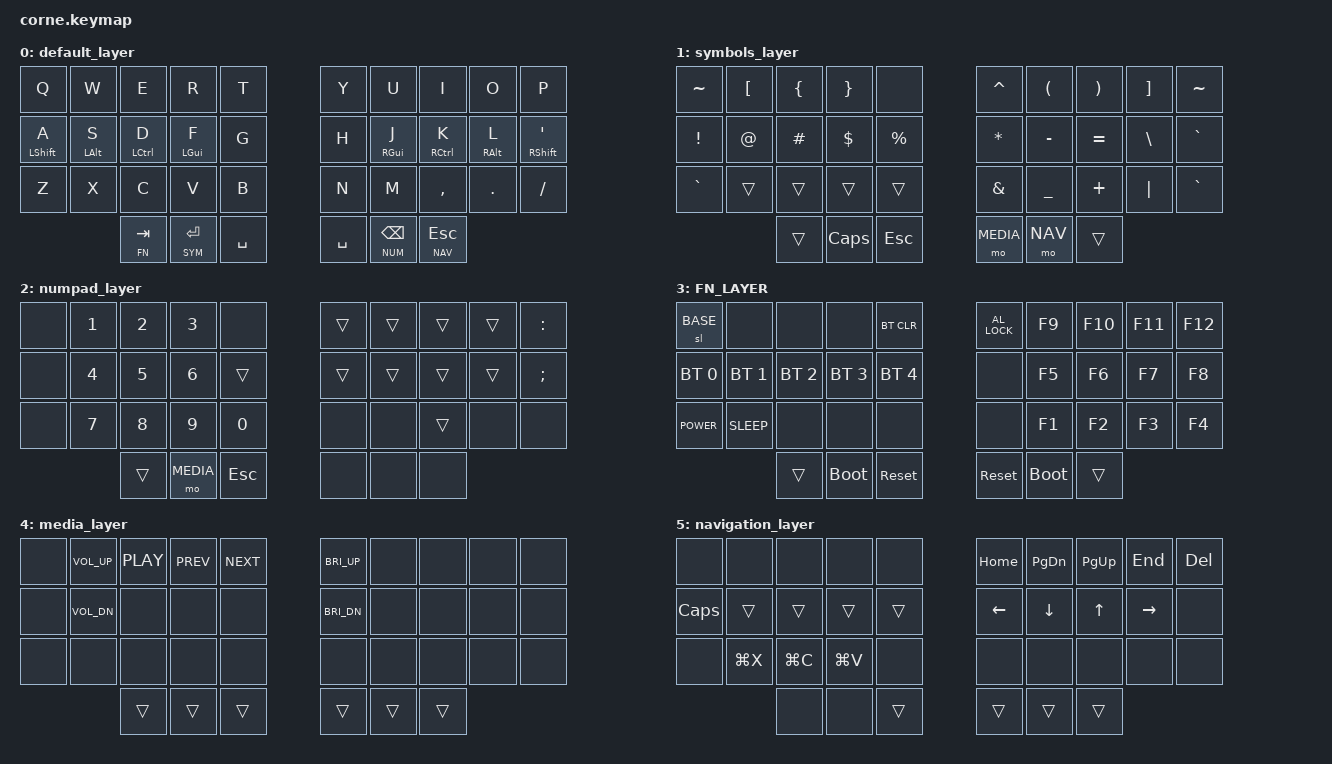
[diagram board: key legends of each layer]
// Copyright (c) 2022 The ZMK Contributors
// SPDX-License-Identifier: MIT

#include <behaviors.dtsi>
#include <dt-bindings/zmk/keys.h>
#include <dt-bindings/zmk/bt.h>

#define QUICK_TAP_MS 150
#define TAPPING_TERM_MS 200
#define PRIOR_IDLE_MS 150

#define _SPC_    &kp SPACE
#define _CUT_    &kp LG(X)
#define _COPY_   &kp LG(C)
#define _PASTE_  &kp LG(V)
#define ___      &trans
#define _x_      &none

#define BASE 0
#define SYM 1
#define NUM 2
#define FN 3
#define MEDIA 4
#define NAV 5

// Key position groups for home row mods (5-column layout = 36 keys)
#define LEFT_KEYS 0 1 2 3 4 5 6 7 8 9 10 11 12 13 14
#define RIGHT_KEYS 15 16 17 18 19 20 21 22 23 24 25 26 27 28 29
#define THUMB_KEYS 30 31 32 33 34 35

/ {
    chosen {
        zmk,matrix_transform = &five_column_transform;
    };
  };

/ {
    behaviors {
        hml: hml {
          compatible = "zmk,behavior-hold-tap";
          #binding-cells = <2>;
          flavor = "balanced";
          tapping-term-ms = <TAPPING_TERM_MS>;
          quick-tap-ms = <QUICK_TAP_MS>;
          require-prior-idle-ms = <PRIOR_IDLE_MS>;
          bindings = <&kp>, <&kp>;
          hold-trigger-key-positions = <LEFT_KEYS THUMB_KEYS>;
          hold-trigger-on-release;
        };

        hmr: hmr {
          compatible = "zmk,behavior-hold-tap";
          #binding-cells = <2>;
          flavor = "balanced";
          tapping-term-ms = <TAPPING_TERM_MS>;
          quick-tap-ms = <QUICK_TAP_MS>;
          require-prior-idle-ms = <PRIOR_IDLE_MS>;
          bindings = <&kp>, <&kp>;
          hold-trigger-key-positions = <RIGHT_KEYS THUMB_KEYS>;
          hold-trigger-on-release;
        };
    };

    keymap {
        compatible = "zmk,keymap";
        default_layer {
            bindings = <
        //╭──────────┬──────────┬──────────┬──────────┬──────────╮   ╭──────────┬──────────┬──────────┬──────────┬──────────╮
        //│  Q       │  W       │  E       │  R       │  T       │   │  Y       │  U       │  I       │  O       │  P       │
            &kp Q    &kp W      &kp E      &kp R      &kp T          &kp Y      &kp U      &kp I      &kp O      &kp P
        //├──────────┼──────────┼──────────┼──────────┼──────────┤   ├──────────┼──────────┼──────────┼──────────┼──────────┤
        //│  A       │  S       │  D       │  F       │  G       │   │  H       │  J       │  K       │  L       │ ' "      │
     &hml LSHFT A &hml LALT S &hml LCTRL D  &hml LGUI F  &kp G      &kp H  &hmr RGUI J &hmr RCTRL K &hmr RALT L  &hmr RSHFT SQT
        //├──────────┼──────────┼──────────┼──────────┼──────────┤   ├──────────┼──────────┼──────────┼──────────┼──────────┤
        //│  Z       │  X       │  C       │  V       │  B       │   │  N       │  M       │ , <      │ . >      │ / ?      │
            &kp Z      &kp X      &kp C      &kp V      &kp B          &kp N      &kp M      &kp COMMA  &kp DOT    &kp FSLH
        //╰──────────┴──────────┴──────────┼──────────┼──────────┤   ├──────────┼──────────┼──────────┴──────────┴──────────╯
                               &lt FN TAB &lt SYM ENTER   _SPC_         _SPC_   &lt NUM BSPC  &lt NAV ESC
        //                      ╰──────────┴──────────┴──────────╯   ╰──────────┴──────────┴──────────╯
            >;
        };

        // layer 1
        symbols_layer {
            bindings = <
        //╭──────────┬──────────┬──────────┬──────────┬──────────╮   ╭──────────┬──────────┬──────────┬──────────┬──────────╮
        //│ ~        │  [       │  {       │  }       │          │   │  ^       │  (       │  )       │  ]       │  ~       │
            &kp TILDE  &kp LBKT   &kp LBRC   &kp RBRC     _x_         &kp CARET  &kp LPAR   &kp RPAR   &kp RBKT   &kp TILDE
        //├──────────┼──────────┼──────────┼──────────┼──────────┤   ├──────────┼──────────┼──────────┼──────────┼──────────┤
        //│  !       │  @       │  #       │  $       │  %       │   │  *       │  -       │  =       │  \       │  `       │
            &kp EXCL   &kp AT     &kp HASH   &kp DLLR   &kp PRCNT      &kp ASTRK  &kp MINUS  &kp EQUAL  &kp BSLH   &kp GRAVE
        //├──────────┼──────────┼──────────┼──────────┼──────────┤   ├──────────┼──────────┼──────────┼──────────┼──────────┤
        //│ `        │          │          │          │          │   │  &       │  _       │  +       │  │       │  `       │
            &kp GRAVE    ___        ___        ___         ___         &kp AMPS   &kp UNDER  &kp PLUS   &kp PIPE   &kp GRAVE
        //╰──────────┴──────────┴──────────┼──────────┼──────────┤   ├──────────┼──────────┼──────────┴──────────┴──────────╯
                                    ___    &kp CAPSLOCK &kp ESC       &mo MEDIA  &mo NAV      ___
        //                      ╰──────────┴──────────┴──────────╯   ╰──────────┴──────────┴──────────╯
            >;
        };

        // layer 2
        numpad_layer {
            bindings = <
        //╭──────────┬──────────┬──────────┬──────────┬──────────╮   ╭──────────┬──────────┬──────────┬──────────┬──────────╮
        //│          │  1       │  2       │  3       │          │   │          │          │          │          │  :       │
              _x_       &kp N1     &kp N2     &kp N3      _x_          ___          ___        ___        ___      &kp COLON
        //├──────────┼──────────┼──────────┼──────────┼──────────┤   ├──────────┼──────────┼──────────┼──────────┼──────────┤
        //│          │  4       │  5       │  6       │          │   │          │          │          │          │  ;       │
              _x_       &kp N4     &kp N5     &kp N6      ___          ___          ___        ___        ___      &kp SEMI
        //├──────────┼──────────┼──────────┼──────────┼──────────┤   ├──────────┼──────────┼──────────┼──────────┼──────────┤
        //│          │  7       │  8       │  9       │  0       │   │          │          │          │          │          │
              _x_      &kp N7     &kp N8     &kp N9     &kp N0          _x_         _x_         ___        _x_        _x_
        //╰──────────┴──────────┴──────────┼──────────┼──────────┤   ├──────────┼──────────┼──────────┴──────────┴──────────╯
                                    ___      &mo MEDIA   &kp ESC         _x_        _x_         _x_
        //                      ╰──────────┴──────────┴──────────╯   ╰──────────┴──────────┴──────────╯
            >;
        };


        FN_LAYER {
            bindings = <
        //╭──────────┬──────────┬──────────┬──────────┬──────────╮   ╭──────────┬──────────┬──────────┬──────────┬──────────╮
        //│    -     │    -     │    -     │    -     │    -     │   │    -     │    -     │    -     │     -    │     -    │
        //├──────────┼──────────┼──────────┼──────────┼──────────┤   ├──────────┼──────────┼──────────┼──────────┼──────────┤
            &sl BASE     _x_        _x_         _x_    &bt BT_CLR   &kp C_AL_LOCK  &kp F9    &kp F10    &kp F11    &kp F12
        //│    -     │    -     │    -     │    -     │    -     │   │    -     │    -     │    -     │     -    │     -    │
 &bt BT_SEL 0 &bt BT_SEL 1  &bt BT_SEL 2 &bt BT_SEL 3 &bt BT_SEL 4       _x_        &kp F5    &kp F6     &kp F7     &kp F8
        //│    -     │    -     │    -     │    -     │    -     │   │    -     │    -     │    -     │     -    │     -    │
        &kp C_POWER &kp C_SLEEP    _x_        _x_         _x_            _x_       &kp F1     &kp F2     &kp F3     &kp F4
        //╰──────────┴──────────┴──────────┼──────────┼──────────┤   ├──────────┼──────────┼──────────┴──────────┴──────────╯
                                    ___    &bootloader &sys_reset     &sys_reset &bootloader   ___
        //                      ╰──────────┴──────────┴──────────╯   ╰──────────┴──────────┴──────────╯

            >;
        };

        media_layer {
            bindings = <
        //╭──────────┬──────────┬──────────┬──────────┬──────────╮   ╭──────────┬──────────┬──────────┬──────────┬──────────╮
        //│    -     │ VOL_UP   │ PLAY     │ PREV     │ PREV     │   │          │          │          │          │          │
              _x_    &kp C_VOL_UP &kp C_PLAY &kp C_PREV &kp C_NEXT   &kp C_BRI_UP   _x_        _x_        _x_        _x_
        //├──────────┼──────────┼──────────┼──────────┼──────────┤   ├──────────┼──────────┼──────────┼──────────┼──────────┤
        //│    -     │ VOL_DOWN │          │          │          │   │          │          │          │          │          │
            _x_   &kp C_VOL_DN      _x_        _x_       _x_          &kp C_BRI_DN   _x_        _x_        _x_        _x_
        //├──────────┼──────────┼──────────┼──────────┼──────────┤   ├──────────┼──────────┼──────────┼──────────┼──────────┤
        //│          │          │          │          │          │   │          │          │          │          │          │
              _x_        _x_        _x_         _x_       _x_            _x_        _x_        _x_        _x_        _x_
        //╰──────────┴──────────┴──────────┼──────────┼──────────┤   ├──────────┼──────────┼──────────┴──────────┴──────────╯
                                    ___       ___        ___             ___        ___        ___
        //                      ╰──────────┴──────────┴──────────╯   ╰──────────┴──────────┴──────────╯
            >;
        };

        navigation_layer {
            bindings = <
        // ╭───────────────────────────────────────────────────────────╮   ╭───────────────────────────────────────────────────────────╮
        // │     _     │     _     │     _     │     _     │     _     │   │     _     │     _     │     _     │     _     │     _     │
                _x_         _x_         _x_         _x_         _x_           &kp HOME   &kp PG_DN  &kp PG_UP   &kp END         &kp DEL
        // ├───────────┼───────────┼───────────┼───────────┼───────────┤   ├───────────┼───────────┼───────────┼───────────┼───────────┤
              &kp CAPS      ___         ___         ___         ___           &kp LEFT    &kp DOWN     &kp UP    &kp RIGHT      _x_
        // ├───────────┼───────────┼───────────┼───────────┼───────────┤   ├───────────┼───────────┼───────────┼───────────┼───────────┤
        // │     _     │     _     │     _     │     _     │     _     │   │     _     │     _     │     _     │     _     │     _     │
                _x_         _CUT_      _COPY_     _PASTE_       _x_             _x_         _x_         _x_         _x_         _x_
        // ╰───────────┼───────────┼───────────┼───────────┼───────────╯   ╰───────────┼───────────┼───────────┼───────────┼───────────╯
                                        _x_         _x_         ___             ___         ___         ___
        //                         ╰────────────┴──────────┴───────────╯   ╰──────────┴──────────┴──────────╯
            >;
        };
    };
};
